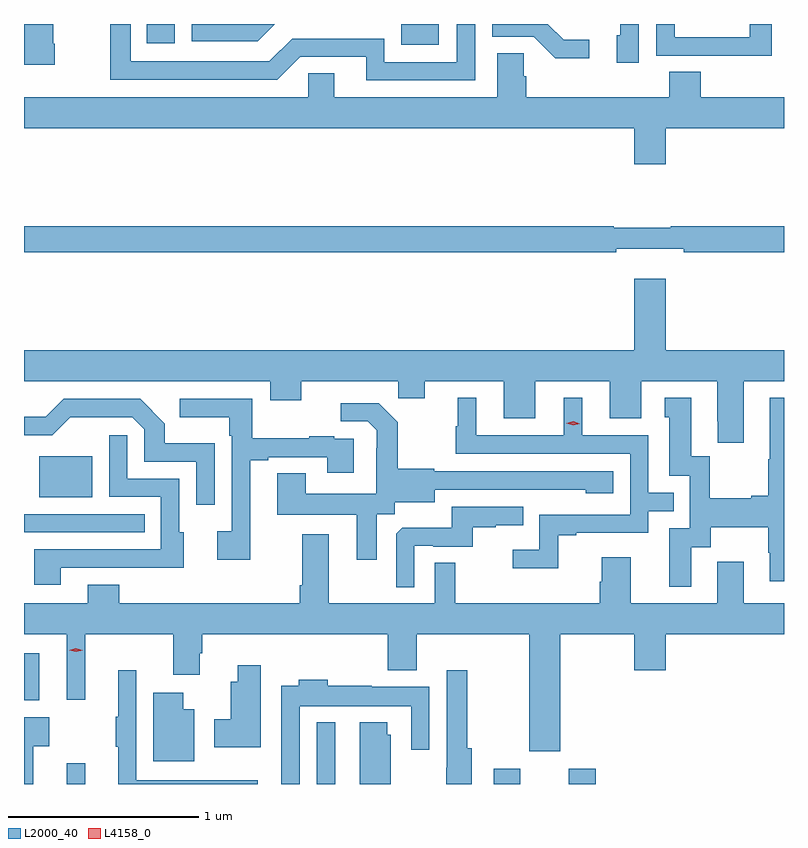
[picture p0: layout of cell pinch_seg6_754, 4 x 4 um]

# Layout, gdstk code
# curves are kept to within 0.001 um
import gdstk
lib = gdstk.Library(unit=1e-6, precision=1e-09)
def R(c, l, rs):  # rectangles x0, y0, x1, y1
    for r in rs: c.add(gdstk.rectangle(r[:2], r[2:], *l))
def P(c, l, *ps):  # polygons
    for p in ps: c.add(gdstk.Polygon(p, *l))
L2000_40 = (2000, 40)
L4158_0 = (4158, 0)

pinch_seg6_754 = lib.new_cell('pinch_seg6_754')
R(pinch_seg6_754, L2000_40, [(305.876,991.837,305.974,991.945), (307.191,991.837,307.288,992.161), (308.123,991.837,308.263,991.918), (308.519,991.837,308.659,991.918), (305.651,992.279,305.731,992.524), (305.651,993.162,306.287,993.258), (305.732,993.347,306.01,993.562), (307.636,995.729,307.834,995.837), (306.298,995.736,306.444,995.837)])
P(pinch_seg6_754, L2000_40, [(306.972,995.837),(306.534,995.837),(306.534,995.745),(306.88,995.745)],
  [(309.587,995.837),(309.471,995.837),(309.471,995.766),(309.075,995.766),(309.075,995.837),(308.979,995.837),(308.979,995.67),(309.295,995.67),(309.295,995.669),(309.587,995.669)],
  [(308.626,995.754),(308.491,995.754),(308.408,995.837),(308.115,995.837),(308.115,995.769),(308.334,995.769),(308.447,995.657),(308.626,995.657)],
  [(305.814,995.734),(305.806,995.734),(305.806,995.837),(305.651,995.837),(305.651,995.622),(305.814,995.622)],
  [(308.025,995.837),(307.929,995.837),(307.929,995.637),(307.548,995.637),(307.548,995.76),(307.062,995.76),(306.942,995.64),(306.213,995.64),(306.213,995.837),(306.105,995.837),(306.105,995.544),(306.984,995.544),(307.104,995.664),(307.451,995.664),(307.451,995.541),(308.025,995.541)],
  [(308.886,995.837),(308.79,995.837),(308.79,995.778),(308.771,995.778),(308.771,995.634),(308.886,995.634)],
  [(308.294,995.561),(308.28,995.561),(308.28,995.684),(308.141,995.684),(308.141,995.452),(307.285,995.452),(307.285,995.579),(307.146,995.579),(307.146,995.452),(305.651,995.452),(305.651,995.288),(308.864,995.288),(308.864,995.1),(309.028,995.1),(309.028,995.288),(309.651,995.288),(309.651,995.452),(309.212,995.452),(309.212,995.585),(309.047,995.585),(309.047,995.452),(308.294,995.452)],
  [(308.768,994.655),(309.124,994.655),(309.124,994.636),(309.651,994.636),(309.651,994.772),(309.055,994.772),(309.055,994.765),(308.755,994.765),(308.755,994.772),(305.651,994.772),(305.651,994.636),(308.768,994.636)],
  [(309.439,993.956),(309.651,993.956),(309.651,994.12),(309.028,994.12),(309.028,994.495),(308.864,994.495),(308.864,994.12),(305.651,994.12),(305.651,993.956),(306.947,993.956),(306.947,993.857),(307.111,993.857),(307.111,993.956),(307.621,993.956),(307.621,993.866),(307.759,993.866),(307.759,993.956),(308.177,993.956),(308.177,993.762),(308.341,993.762),(308.341,993.956),(308.735,993.956),(308.735,993.762),(308.899,993.762),(308.899,993.956),(309.299,993.956),(309.299,993.745),(309.302,993.745),(309.302,993.633),(309.439,993.633)],
  [(309.163,993.082),(309.265,993.082),(309.265,993.188),(309.568,993.188),(309.568,993.054),(309.575,993.054),(309.575,992.904),(309.651,992.904),(309.651,993.871),(309.575,993.871),(309.575,993.545),(309.568,993.545),(309.568,993.353),(309.479,993.353),(309.479,993.34),(309.261,993.34),(309.261,993.563),(309.163,993.563),(309.163,993.871),(309.023,993.871),(309.023,993.768),(309.047,993.768),(309.047,993.459),(309.156,993.459),(309.156,993.183),(309.047,993.183),(309.047,992.874),(309.163,992.874)],
  [(308.463,993.147),(308.557,993.147),(308.557,993.159),(308.937,993.159),(308.937,993.273),(309.071,993.273),(309.071,993.369),(308.937,993.369),(308.937,993.672),(308.59,993.672),(308.59,993.871),(308.492,993.871),(308.492,993.672),(308.032,993.672),(308.032,993.871),(307.934,993.871),(307.934,993.72),(307.923,993.72),(307.923,993.576),(308.841,993.576),(308.841,993.255),(308.364,993.255),(308.364,993.07),(308.223,993.07),(308.223,992.972),(308.463,992.972)],
  [(306.654,993.631),(306.393,993.631),(306.393,993.734),(306.262,993.864),(305.859,993.864),(305.765,993.77),(305.651,993.77),(305.651,993.672),(305.799,993.672),(305.894,993.767),(306.222,993.768),(306.285,993.705),(306.285,993.534),(306.558,993.534),(306.558,993.306),(306.654,993.306)],
  [(306.841,993.54),(306.937,993.54),(306.937,993.558),(307.247,993.558),(307.247,993.474),(307.387,993.474),(307.387,993.654),(307.283,993.654),(307.283,993.667),(307.151,993.667),(307.151,993.656),(306.853,993.656),(306.853,993.864),(306.471,993.864),(306.471,993.767),(306.732,993.767),(306.732,993.671),(306.744,993.671),(306.744,993.166),(306.669,993.166),(306.669,993.018),(306.841,993.018)],
  [(307.507,993.256),(307.602,993.256),(307.602,993.32),(307.813,993.32),(307.813,993.387),(308.607,993.386),(308.607,993.368),(308.752,993.368),(308.752,993.483),(307.809,993.483),(307.809,993.496),(307.617,993.496),(307.617,993.741),(307.517,993.841),(307.317,993.841),(307.317,993.747),(307.461,993.747),(307.508,993.7),(307.508,993.605),(307.506,993.605),(307.506,993.364),(307.135,993.364),(307.135,993.473),(306.983,993.473),(306.983,993.254),(307.403,993.254),(307.403,993.018),(307.507,993.018)],
  [(305.845,992.976),(306.275,992.976),(306.275,992.975),(306.493,992.975),(306.493,993.162),(306.468,993.162),(306.468,993.444),(306.195,993.444),(306.195,993.673),(306.099,993.673),(306.099,993.348),(306.372,993.348),(306.372,993.072),(305.705,993.072),(305.705,992.886),(305.845,992.886)],
  [(307.704,993.09),(307.804,993.09),(307.804,993.087),(308.012,993.087),(308.012,993.189),(308.135,993.189),(308.135,993.2),(308.279,993.2),(308.279,993.297),(307.902,993.297),(307.902,993.185),(307.643,993.185),(307.611,993.153),(307.611,992.873),(307.704,992.873)],
  [(307.921,993.002),(307.812,993.002),(307.812,992.788),(307.255,992.788),(307.255,993.151),(307.115,993.151),(307.115,992.884),(307.103,992.884),(307.103,992.788),(306.151,992.788),(306.151,992.887),(305.987,992.887),(305.987,992.788),(305.651,992.788),(305.651,992.624),(305.876,992.624),(305.876,992.28),(305.974,992.28),(305.974,992.624),(306.437,992.624),(306.437,992.412),(306.577,992.412),(306.577,992.526),(306.59,992.526),(306.59,992.624),(307.565,992.624),(307.565,992.435),(307.717,992.435),(307.717,992.624),(308.309,992.624),(308.309,992.01),(308.473,992.01),(308.473,992.624),(308.864,992.624),(308.864,992.436),(309.028,992.436),(309.028,992.624),(309.651,992.624),(309.651,992.788),(309.439,992.788),(309.439,993.007),(309.299,993.007),(309.299,992.788),(308.845,992.788),(308.845,993.031),(308.693,993.031),(308.693,992.901),(308.681,992.901),(308.681,992.788),(307.921,992.788)],
  [(306.898,992.461),(306.776,992.461),(306.776,992.374),(306.74,992.374),(306.74,992.178),(306.651,992.178),(306.651,992.03),(306.898,992.03)],
  [(306.882,991.858),(306.243,991.858),(306.243,992.437),(306.146,992.437),(306.146,992.192),(306.135,992.192),(306.135,992.032),(306.146,992.032),(306.146,991.837),(306.882,991.837)],
  [(308.008,992.026),(307.984,992.026),(307.984,992.437),(307.875,992.437),(307.875,991.922),(307.874,991.922),(307.874,991.837),(308.008,991.837)],
  [(307.101,992.246),(307.689,992.246),(307.689,992.016),(307.785,992.016),(307.785,992.35),(307.481,992.35),(307.481,992.353),(307.25,992.353),(307.25,992.386),(307.097,992.386),(307.097,992.353),(307.005,992.353),(307.005,991.837),(307.101,991.837)],
  [(306.547,992.23),(306.49,992.23),(306.49,992.317),(306.332,992.317),(306.332,991.958),(306.547,991.958)],
  [(305.699,992.036),(305.785,992.036),(305.785,992.188),(305.651,992.188),(305.651,991.837),(305.699,991.837)],
  [(307.582,992.097),(307.564,992.097),(307.564,992.161),(307.418,992.161),(307.418,991.837),(307.582,991.837)])
P(pinch_seg6_754, L4158_0, [(305.925,992.532),(305.889,992.541),(305.889,992.541),(305.889,992.541),(305.924,992.552),(305.96,992.542),(305.96,992.542),(305.96,992.542)],
  [(308.541,993.725),(308.506,993.735),(308.505,993.735),(308.506,993.735),(308.541,993.745),(308.577,993.734),(308.577,993.734),(308.577,993.734)])

lib.write_gds('pinch_seg6_754.gds')
